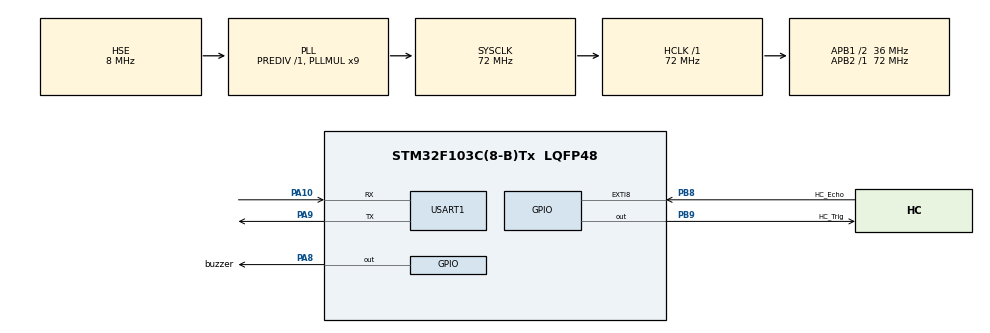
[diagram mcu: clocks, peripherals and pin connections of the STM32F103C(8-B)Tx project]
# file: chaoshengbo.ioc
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Dma.Request0=USART1_RX
Dma.Request1=USART1_TX
Dma.USART1_RX.0.Direction=DMA_PERIPH_TO_MEMORY
Dma.USART1_RX.0.Instance=DMA1_Channel5
Dma.USART1_RX.0.MemDataAlignment=DMA_MDATAALIGN_BYTE
Dma.USART1_RX.0.MemInc=DMA_MINC_ENABLE
Dma.USART1_RX.0.Mode=DMA_NORMAL
Dma.USART1_RX.0.PeriphDataAlignment=DMA_PDATAALIGN_BYTE
Dma.USART1_RX.0.PeriphInc=DMA_PINC_DISABLE
Dma.USART1_RX.0.Priority=DMA_PRIORITY_LOW
Dma.USART1_TX.1.Direction=DMA_MEMORY_TO_PERIPH
Dma.USART1_TX.1.Instance=DMA1_Channel4
Dma.USART1_TX.1.MemDataAlignment=DMA_MDATAALIGN_BYTE
Dma.USART1_TX.1.MemInc=DMA_MINC_ENABLE
Dma.USART1_TX.1.Mode=DMA_NORMAL
Dma.USART1_TX.1.PeriphDataAlignment=DMA_PDATAALIGN_BYTE
Dma.USART1_TX.1.PeriphInc=DMA_PINC_DISABLE
Dma.USART1_TX.1.Priority=DMA_PRIORITY_LOW
Mcu.Family=STM32F1
Mcu.Name=STM32F103C(8-B)Tx
Mcu.Package=LQFP48
NVIC.DMA1_Channel4_IRQn=true\:0\:0\:false\:false\:true\:false\:true\:true
NVIC.DMA1_Channel5_IRQn=true\:0\:0\:false\:false\:true\:false\:true\:true
NVIC.EXTI9_5_IRQn=true\:0\:0\:true\:false\:true\:true\:true\:true
NVIC.PriorityGroup=NVIC_PRIORITYGROUP_4
NVIC.TIM1_UP_IRQn=true\:1\:0\:true\:false\:true\:true\:true\:true
NVIC.USART1_IRQn=true\:2\:0\:true\:false\:true\:false\:true\:true
PA10.Mode=Asynchronous
PA10.Signal=USART1_RX
PA13.Mode=Serial_Wire
PA13.Signal=SYS_JTMS-SWDIO
PA14.Mode=Serial_Wire
PA14.Signal=SYS_JTCK-SWCLK
PA8.GPIO_Label=buzzer
PA8.PinState=GPIO_PIN_SET
PA8.Signal=GPIO_Output
PA9.Mode=Asynchronous
PA9.Signal=USART1_TX
PB8.GPIO_Label=HC_Echo
PB8.GPIO_ModeDefaultEXTI=GPIO_MODE_IT_RISING_FALLING
PB8.Signal=GPXTI8
PB9.GPIO_Label=HC_Trig
PB9.PinState=GPIO_PIN_RESET
PB9.Signal=GPIO_Output
PD0-OSC_IN.Mode=HSE-External-Oscillator
PD0-OSC_IN.Signal=RCC_OSC_IN
PD1-OSC_OUT.Mode=HSE-External-Oscillator
PD1-OSC_OUT.Signal=RCC_OSC_OUT
ProjectManager.HeapSize=0x200
ProjectManager.StackSize=0x400
ProjectManager.TargetToolchain=MDK-ARM V5.32
RCC.AHBFreq_Value=72000000
RCC.APB1CLKDivider=RCC_HCLK_DIV2
RCC.APB1Freq_Value=36000000
RCC.APB1TimFreq_Value=72000000
RCC.APB2Freq_Value=72000000
RCC.APB2TimFreq_Value=72000000
RCC.HCLKFreq_Value=72000000
RCC.PLLMUL=RCC_PLL_MUL9
RCC.PLLSourceVirtual=RCC_PLLSOURCE_HSE
RCC.SYSCLKFreq_VALUE=72000000
RCC.SYSCLKSource=RCC_SYSCLKSOURCE_PLLCLK
RCC.USBFreq_Value=72000000
TIM1.Period=1000-1
TIM1.Prescaler=72-1
USART1.VirtualMode=VM_ASYNC
VP_TIM1_VS_ClockSourceINT.Mode=Internal
board=custom

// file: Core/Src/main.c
/* USER CODE BEGIN Header */
/**
  ******************************************************************************
  * @file           : main.c
  * @brief          : Main program body
  ******************************************************************************
  * @attention
  *
  * Copyright (c) 2024 STMicroelectronics.
  * All rights reserved.
  *
  * This software is licensed under terms that can be found in the LICENSE file
  * in the root directory of this software component.
  * If no LICENSE file comes with this software, it is provided AS-IS.
  *
  ******************************************************************************
  */
/* USER CODE END Header */
#include "main.h"
#include "dma.h"
#include "tim.h"
#include "usart.h"
#include "gpio.h"

/* USER CODE BEGIN Includes */
//自己建立的头文件
#include "buzzer.h"
#include "HC-SR04.h"
/* USER CODE END Includes */

void SystemClock_Config(void);

/* USER CODE BEGIN 0 */

//定时器中断函数
void HAL_TIM_PeriodElapsedCallback(TIM_HandleTypeDef *htim)
{
	if(htim->Instance == TIM1)
	{
		++num;
		if(num==1000)
		{
			num=0;
		//	u1_printf("hello\r\n");
		}
	}
}

//外部中断函数
void HAL_GPIO_EXTI_Callback(uint16_t GPIO_Pin)
{
	if(HAL_GPIO_ReadPin(HC_Echo_GPIO_Port,HC_Echo_Pin)==SET)
	{
		num = 0;
		__HAL_TIM_SET_COUNTER(&htim1, 0);//计数器清0
		HAL_TIM_Base_Start_IT(&htim1);//开始定时器1
	}
	else if(HAL_GPIO_ReadPin(HC_Echo_GPIO_Port,HC_Echo_Pin)==RESET)
	{
		HAL_TIM_Base_Stop_IT(&htim1);//关闭定时器1
	  Distance =(num*1000+ __HAL_TIM_GET_COUNTER(&htim1))*0.34/2;//计算当前测量次数的距离
	}
}

/* USER CODE END 0 */

int main(void)
{

  /* MCU Configuration--------------------------------------------------------*/

  /* Reset of all peripherals, Initializes the Flash interface and the Systick. */
  HAL_Init();

  /* Configure the system clock */
  SystemClock_Config();

  /* Initialize all configured peripherals */
  MX_GPIO_Init();
  MX_DMA_Init();
  MX_USART1_UART_Init();
  MX_TIM1_Init();
  /* USER CODE BEGIN 2 */
	HAL_UART_Receive_DMA(&huart1, Rx_Buf, Rx_Max);
	__HAL_UART_ENABLE_IT(&huart1, UART_IT_IDLE);
	//u1_printf("DistanceTest:\r\n");
	Set_Buzzer_State(1);//关闭蜂鸣器
		//HAL_TIM_Base_Start_IT(&htim1);//开始定时器1

  /* USER CODE END 2 */

  /* Infinite loop */
  while (1)
  {

    /* USER CODE BEGIN 3 */
		 HC_SR04_Computer();

  }
  /* USER CODE END 3 */
}

void SystemClock_Config(void)
{
  RCC_OscInitTypeDef RCC_OscInitStruct = {0};
  RCC_ClkInitTypeDef RCC_ClkInitStruct = {0};

  /** Initializes the RCC Oscillators according to the specified parameters
  * in the RCC_OscInitTypeDef structure.
  */
  RCC_OscInitStruct.OscillatorType = RCC_OSCILLATORTYPE_HSE;
  RCC_OscInitStruct.HSEState = RCC_HSE_ON;
  RCC_OscInitStruct.HSEPredivValue = RCC_HSE_PREDIV_DIV1;
  RCC_OscInitStruct.HSIState = RCC_HSI_ON;
  RCC_OscInitStruct.PLL.PLLState = RCC_PLL_ON;
  RCC_OscInitStruct.PLL.PLLSource = RCC_PLLSOURCE_HSE;
  RCC_OscInitStruct.PLL.PLLMUL = RCC_PLL_MUL9;
  if (HAL_RCC_OscConfig(&RCC_OscInitStruct) != HAL_OK)
  {
    Error_Handler();
  }

  /** Initializes the CPU, AHB and APB buses clocks
  */
  RCC_ClkInitStruct.ClockType = RCC_CLOCKTYPE_HCLK|RCC_CLOCKTYPE_SYSCLK
                              |RCC_CLOCKTYPE_PCLK1|RCC_CLOCKTYPE_PCLK2;
  RCC_ClkInitStruct.SYSCLKSource = RCC_SYSCLKSOURCE_PLLCLK;
  RCC_ClkInitStruct.AHBCLKDivider = RCC_SYSCLK_DIV1;
  RCC_ClkInitStruct.APB1CLKDivider = RCC_HCLK_DIV2;
  RCC_ClkInitStruct.APB2CLKDivider = RCC_HCLK_DIV1;

  if (HAL_RCC_ClockConfig(&RCC_ClkInitStruct, FLASH_LATENCY_2) != HAL_OK)
  {
    Error_Handler();
  }
}

void Error_Handler(void)
{
  __disable_irq();
  while (1)
  {
  }
}
